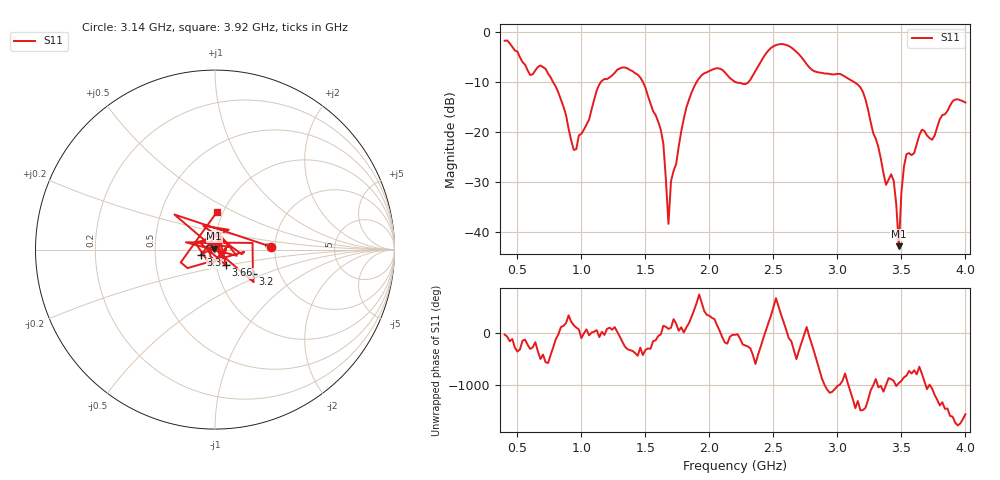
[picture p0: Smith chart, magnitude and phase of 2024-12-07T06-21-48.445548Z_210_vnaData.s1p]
!Created with skrf (http://scikit-rf.org).
# Hz S RI R 50.0
!freq ReS11 ImS11
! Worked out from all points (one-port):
!   181 points, 400 MHz to 4 GHz, reference 50 ohm
!   lowest |S11| = -42.9 dB at 3.48 GHz (marker M1), VSWR 1.01, Z = 49.6 + j0.585 ohm
!   |S11| at or under -10 dB: 779 MHz to 1.152 GHz (372.6 MHz wide, 38.6 % of centre); 1.481 GHz to 1.899 GHz (417.2 MHz wide, 24.7 % of centre); 3.133 GHz to end of sweep (the widest 3 of 4)
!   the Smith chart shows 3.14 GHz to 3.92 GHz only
!   S11 on the Smith chart (normalised r, x): 3.14 GHz: 1.91, +0.07; 3.2 GHz: 1.46, -0.43; 3.3 GHz: 0.85, -0.05; 3.66 GHz: 1.11, -0.19; 3.92 GHz: 0.94, +0.41
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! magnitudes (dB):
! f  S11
! 400 MHz  -1.7
! 720 MHz  -7.3
! 860 MHz  -14.9
! 960 MHz  -23.4
! 1.14 GHz  -10.4
! 1.3 GHz  -7.2
! 1.46 GHz  -9.1
! 1.62 GHz  -19.5
! 1.64 GHz  -22.3
! 1.68 GHz  -38.4
! 1.7 GHz  -29.8
! 1.76 GHz  -22.9
! 1.94 GHz  -8.6
! 2.2 GHz  -9.9
! 2.66 GHz  -3.5
! 3.1 GHz  -9.5
! 3.14 GHz  -10.1
! 3.2 GHz  -12.0
! 3.3 GHz  -21.3
! 3.38 GHz  -30.6
! 3.44 GHz  -29.8
! 3.48 GHz  -42.9
! 3.52 GHz  -26.9
! 3.56 GHz  -24.2
! 3.66 GHz  -19.5
! 3.74 GHz  -21.5
! 3.92 GHz  -13.5
! 4 GHz  -14.1
